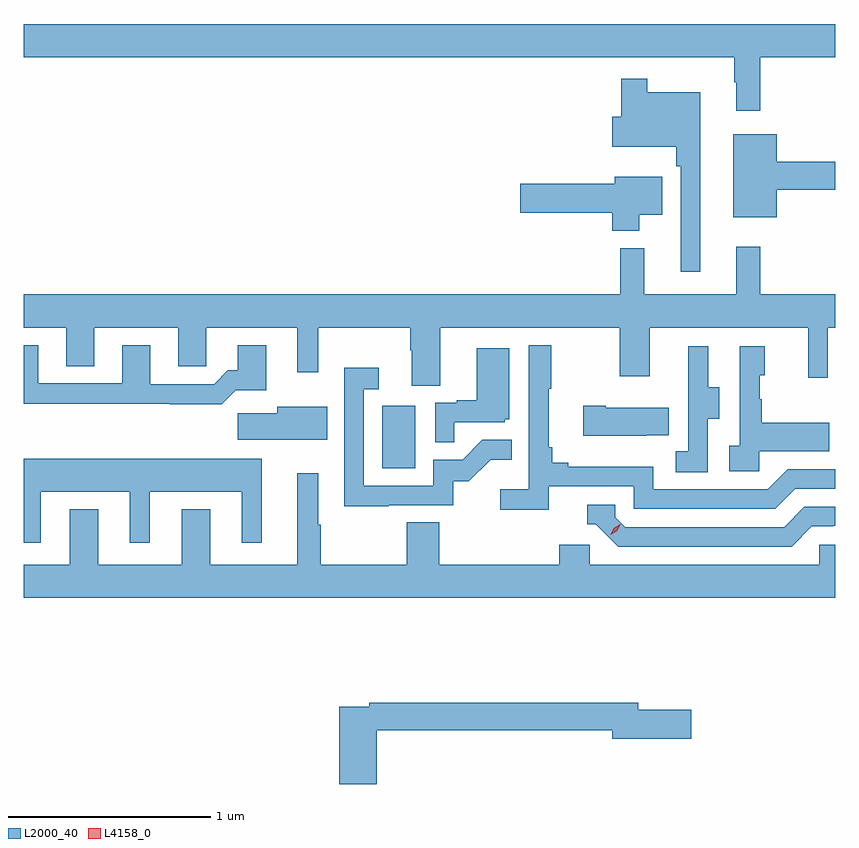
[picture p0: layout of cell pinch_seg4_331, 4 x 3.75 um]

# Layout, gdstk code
import gdstk
lib = gdstk.Library(unit=1e-6, precision=1e-09)
def R(c, l, rs):  # rectangles x0, y0, x1, y1
    for r in rs: c.add(gdstk.rectangle(r[:2], r[2:], *l))
def P(c, l, *ps):  # polygons
    for p in ps: c.add(gdstk.Polygon(p, *l))
L2000_40 = (2000, 40)
L4158_0 = (4158, 0)

pinch_seg4_331 = lib.new_cell('pinch_seg4_331')
R(pinch_seg4_331, L2000_40, [(1012.472,810.78,1012.636,811.087)])
P(pinch_seg4_331, L2000_40, [(1014.335,812.804),(1014.706,812.804),(1014.706,812.968),(1010.706,812.968),(1010.706,812.804),(1014.207,812.804),(1014.207,812.681),(1014.218,812.681),(1014.218,812.541),(1014.335,812.541)],
  [(1014.04,812.632),(1013.779,812.632),(1013.779,812.698),(1013.65,812.698),(1013.65,812.511),(1013.606,812.511),(1013.606,812.363),(1013.923,812.363),(1013.923,812.267),(1013.943,812.267),(1013.943,811.746),(1014.04,811.746)],
  [(1014.418,812.152),(1014.706,812.152),(1014.706,812.288),(1014.418,812.288),(1014.418,812.425),(1014.203,812.425),(1014.203,812.015),(1014.418,812.015)],
  [(1013.74,812.027),(1013.854,812.027),(1013.854,812.215),(1013.618,812.215),(1013.618,812.18),(1013.154,812.18),(1013.154,812.038),(1013.606,812.038),(1013.606,811.949),(1013.74,811.949)],
  [(1012.759,811.472),(1013.644,811.472),(1013.644,811.233),(1013.791,811.233),(1013.791,811.472),(1014.572,811.472),(1014.572,811.224),(1014.669,811.224),(1014.669,811.472),(1014.706,811.472),(1014.706,811.636),(1014.335,811.636),(1014.335,811.87),(1014.218,811.87),(1014.218,811.636),(1013.765,811.636),(1013.765,811.864),(1013.647,811.864),(1013.647,811.636),(1010.706,811.636),(1010.706,811.472),(1010.915,811.472),(1010.915,811.282),(1011.055,811.282),(1011.055,811.472),(1011.467,811.472),(1011.467,811.282),(1011.606,811.282),(1011.606,811.472),(1012.055,811.472),(1012.055,811.251),(1012.159,811.251),(1012.159,811.472),(1012.612,811.472),(1012.612,811.36),(1012.619,811.36),(1012.619,811.186),(1012.759,811.186)],
  [(1013.294,810.69),(1013.712,810.69),(1013.712,810.579),(1014.409,810.579),(1014.508,810.678),(1014.706,810.678),(1014.706,810.774),(1014.471,810.774),(1014.372,810.675),(1013.808,810.675),(1013.808,810.787),(1013.389,810.787),(1013.389,810.806),(1013.312,810.806),(1013.312,810.883),(1013.293,810.883),(1013.293,811.171),(1013.305,811.171),(1013.305,811.384),(1013.196,811.384),(1013.196,810.676),(1013.055,810.676),(1013.055,810.574),(1013.294,810.574)],
  [(1011.752,811.163),(1011.901,811.163),(1011.901,811.384),(1011.761,811.384),(1011.761,811.261),(1011.712,811.261),(1011.645,811.194),(1011.331,811.194),(1011.331,811.384),(1011.191,811.384),(1011.191,811.197),(1010.779,811.197),(1010.779,811.384),(1010.706,811.384),(1010.706,811.096),(1011.427,811.096),(1011.427,811.094),(1011.683,811.094)],
  [(1014.078,811.024),(1014.133,811.024),(1014.133,811.179),(1014.079,811.179),(1014.079,811.381),(1013.981,811.381),(1013.981,811.167),(1013.982,811.167),(1013.982,810.863),(1013.919,810.863),(1013.919,810.76),(1014.078,810.76)],
  [(1014.33,810.863),(1014.677,810.863),(1014.677,811.003),(1014.343,811.003),(1014.343,811.118),(1014.333,811.118),(1014.333,811.236),(1014.358,811.236),(1014.358,811.381),(1014.234,811.381),(1014.234,810.89),(1014.183,810.89),(1014.183,810.765),(1014.33,810.765)],
  [(1012.829,811.005),(1013.076,811.005),(1013.076,811.02),(1013.098,811.02),(1013.098,811.369),(1012.94,811.369),(1012.94,811.114),(1012.841,811.114),(1012.841,811.101),(1012.734,811.101),(1012.734,810.907),(1012.829,810.907)],
  [(1012.505,810.597),(1012.824,810.597),(1012.824,810.714),(1012.9,810.714),(1013.007,810.821),(1013.111,810.821),(1013.111,810.92),(1012.967,810.92),(1012.869,810.822),(1012.725,810.822),(1012.725,810.693),(1012.383,810.693),(1012.383,811.167),(1012.456,811.167),(1012.456,811.273),(1012.287,811.273),(1012.287,810.592),(1012.505,810.592)],
  [(1013.777,810.941),(1013.885,810.941),(1013.885,811.078),(1013.575,811.078),(1013.575,811.086),(1013.463,811.086),(1013.463,810.938),(1013.777,810.938)],
  [(1012.201,811.081),(1011.956,811.081),(1011.956,811.049),(1011.762,811.049),(1011.762,810.92),(1012.201,810.92)],
  [(1010.791,810.662),(1011.23,810.662),(1011.23,810.411),(1011.328,810.411),(1011.328,810.662),(1011.782,810.662),(1011.782,810.411),(1011.88,810.411),(1011.88,810.826),(1010.706,810.826),(1010.706,810.411),(1010.791,810.411)],
  [(1014.706,810.402),(1014.627,810.402),(1014.627,810.304),(1013.496,810.304),(1013.496,810.402),(1013.345,810.402),(1013.345,810.304),(1012.754,810.304),(1012.754,810.512),(1012.594,810.512),(1012.594,810.304),(1012.169,810.304),(1012.169,810.5),(1012.159,810.5),(1012.159,810.754),(1012.055,810.754),(1012.055,810.304),(1011.625,810.304),(1011.625,810.577),(1011.485,810.577),(1011.485,810.304),(1011.073,810.304),(1011.073,810.577),(1010.933,810.577),(1010.933,810.304),(1010.706,810.304),(1010.706,810.14),(1014.706,810.14)],
  [(1014.589,810.492),(1014.696,810.492),(1014.696,810.495),(1014.706,810.495),(1014.706,810.588),(1014.552,810.588),(1014.453,810.489),(1013.67,810.489),(1013.622,810.537),(1013.622,810.6),(1013.483,810.6),(1013.483,810.504),(1013.526,810.504),(1013.637,810.393),(1014.49,810.393)],
  [(1012.445,809.488),(1013.606,809.488),(1013.606,809.446),(1013.995,809.446),(1013.995,809.588),(1013.734,809.588),(1013.734,809.624),(1012.408,809.624),(1012.408,809.604),(1012.262,809.604),(1012.262,809.223),(1012.445,809.223)])
P(pinch_seg4_331, L4158_0, [(1013.599,810.451),(1013.599,810.451),(1013.615,810.484),(1013.645,810.504),(1013.645,810.504),(1013.645,810.504),(1013.63,810.471),(1013.599,810.451)])

lib.write_gds('pinch_seg4_331.gds')
